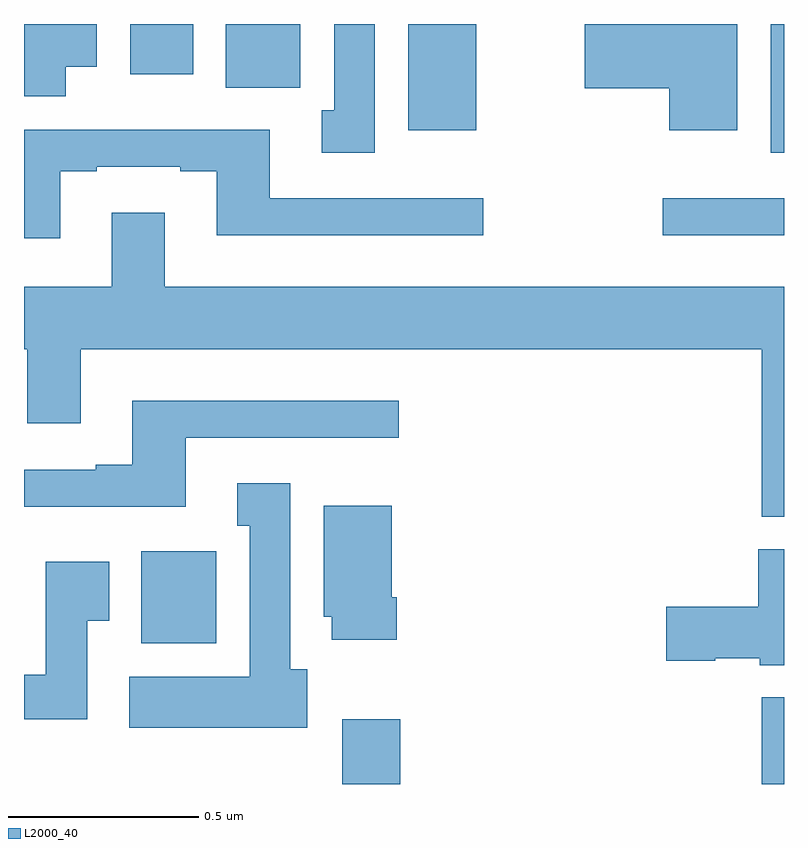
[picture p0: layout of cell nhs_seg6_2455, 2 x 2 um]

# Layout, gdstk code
import gdstk
lib = gdstk.Library(unit=1e-6, precision=1e-09)
def R(c, l, rs):  # rectangles x0, y0, x1, y1
    for r in rs: c.add(gdstk.rectangle(r[:2], r[2:], *l))
def P(c, l, *ps):  # polygons
    for p in ps: c.add(gdstk.Polygon(p, *l))
L2000_40 = (2000, 40)

nhs_seg6_2455 = lib.new_cell('nhs_seg6_2455')
R(nhs_seg6_2455, L2000_40, [(143.837,971.5,143.99,971.671), (144.941,971.5,145,971.728), (143.309,971.87,143.506,972.112), (144.681,972.944,145,973.041), (144.965,973.161,145,973.5), (144.011,973.22,144.19,973.5), (143.531,973.332,143.727,973.5), (143.279,973.368,143.446,973.5)])
P(nhs_seg6_2455, L2000_40, [(143.11,973.388),(143.191,973.388),(143.191,973.5),(143,973.5),(143,973.31),(143.11,973.31)],
  [(143.923,973.5),(143.816,973.5),(143.816,973.273),(143.783,973.273),(143.783,973.161),(143.923,973.161)],
  [(144.877,973.5),(144.476,973.5),(144.476,973.331),(144.698,973.331),(144.698,973.22),(144.877,973.22)],
  [(143.095,973.113),(143.191,973.113),(143.191,973.125),(143.411,973.125),(143.411,973.113),(143.507,973.113),(143.507,972.944),(144.208,972.944),(144.208,973.041),(143.647,973.041),(143.647,973.222),(143,973.222),(143,972.936),(143.095,972.936)],
  [(145,972.808),(143.371,972.808),(143.371,973.003),(143.231,973.003),(143.231,972.808),(143,972.808),(143,972.644),(143.009,972.644),(143.009,972.45),(143.149,972.45),(143.149,972.644),(144.941,972.644),(144.941,972.203),(145,972.203)],
  [(143.425,972.411),(143.986,972.411),(143.986,972.508),(143.285,972.508),(143.285,972.34),(143.189,972.34),(143.189,972.327),(143,972.327),(143,972.23),(143.425,972.23)],
  [(143.746,971.802),(143.701,971.802),(143.701,972.292),(143.561,972.292),(143.561,972.179),(143.594,972.179),(143.594,971.782),(143.277,971.782),(143.277,971.648),(143.746,971.648)],
  [(143.981,971.992),(143.968,971.992),(143.968,972.232),(143.789,972.232),(143.789,971.94),(143.81,971.94),(143.81,971.88),(143.981,971.88)],
  [(145,972.118),(144.932,972.118),(144.932,971.966),(144.69,971.966),(144.69,971.824),(144.819,971.824),(144.819,971.831),(144.936,971.831),(144.936,971.813),(145,971.813)],
  [(143.167,971.929),(143.224,971.929),(143.224,972.085),(143.057,972.085),(143.057,971.788),(143,971.788),(143,971.67),(143.167,971.67)])

lib.write_gds('nhs_seg6_2455.gds')
